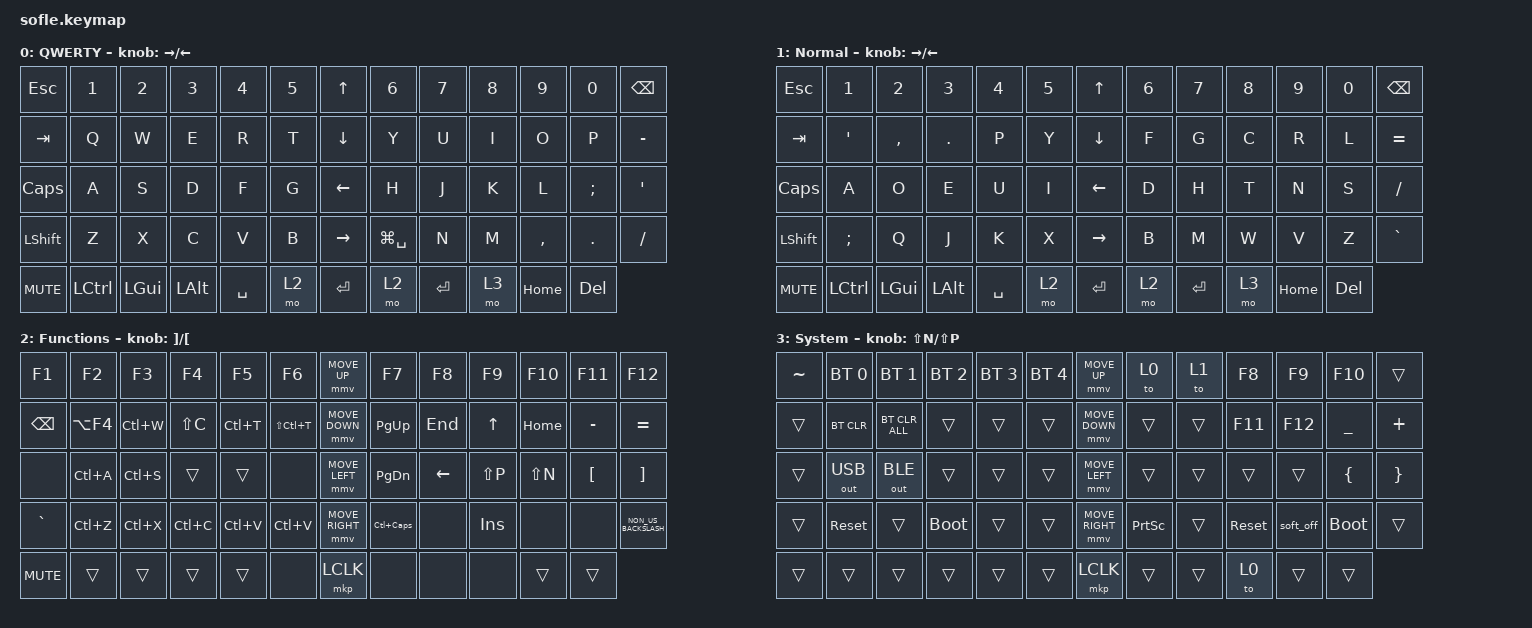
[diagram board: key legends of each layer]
#include <behaviors/mouse_keys.dtsi>
#include <behaviors.dtsi>
#include <dt-bindings/zmk/bt.h>
#include <dt-bindings/zmk/keys.h>
#include <dt-bindings/zmk/mouse.h>
#include <dt-bindings/zmk/outputs.h>

#define ZMK_MOUSE_DEFAULT_MOVE_VAL 1200  // 600
#define ZMK_MOUSE_DEFAULT_SCRL_VAL 20    // 10
#define U_MS_U &mmv MOVE_UP
#define U_MS_D &mmv MOVE_DOWN
#define U_MS_L &mmv MOVE_LEFT
#define U_MS_R &mmv MOVE_RIGHT
#define ZMK_MOUSE_DEFAULT_MOVE_VAL 1200  //  600
#define ZMK_MOUSE_DEFAULT_SCRL_VAL 20    // 10

/ {
    behaviors {
        mmv {
            acceleration-exponent = <1>;      // 1
            time-to-max-speed-ms = <900>;    // 40
            delay-ms = <0>;                   // 0
        };

        msc {
            acceleration-exponent = <1>;      // 0
            time-to-max-speed-ms = <400>;      // 500
            delay-ms = <0>;                   //   10
        };
    };

    scroll_encoder: scroll_encoder {
        compatible = "zmk,behavior-sensor-rotate";
        #sensor-binding-cells = <0>;
        bindings = <&msc SCRL_DOWN>, <&msc SCRL_UP>;

        tap-ms = <30>;
    };

    keymap {
        compatible = "zmk,keymap";

        QWERTY {
            bindings = <
&kp ESC     &kp N1     &kp N2    &kp N3    &kp N4     &kp N5    &kp UP     &kp N6         &kp N7     &kp N8  &kp N9     &kp N0      &kp BSPC
&kp TAB     &kp Q      &kp W     &kp E     &kp R      &kp T     &kp DOWN   &kp Y          &kp U      &kp I   &kp O      &kp P       &kp MINUS
&kp CAPS    &kp A      &kp S     &kp D     &kp F      &kp G     &kp LEFT   &kp H          &kp J      &kp K   &kp L      &kp SEMI    &kp SQT
&kp LSHFT   &kp Z      &kp X     &kp C     &kp V      &kp B     &kp RIGHT  &kp LG(SPACE)  &kp N      &kp M   &kp COMMA  &kp PERIOD  &kp SLASH
&kp C_MUTE  &kp LCTRL  &kp LGUI  &kp LALT  &kp SPACE  &mo 2     &kp ENTER  &mo 2          &kp ENTER  &mo 3   &kp HOME   &kp DEL
            >;

            sensor-bindings = <&inc_dec_kp RIGHT LEFT>;
            label = "QWERTY";
        };

        Dvorak {
            bindings = <
&kp ESC     &kp NUMBER_1   &kp N2        &kp N3        &kp N4     &kp N5    &kp UP_ARROW     &kp N6  &kp N7     &kp N8  &kp N9    &kp N0   &kp BACKSPACE
&kp TAB     &kp SQT        &kp COMMA     &kp PERIOD    &kp P      &kp Y     &kp DOWN_ARROW   &kp F   &kp G      &kp C   &kp R     &kp L    &kp EQUAL
&kp CAPS    &kp A          &kp O         &kp E         &kp U      &kp I     &kp LEFT_ARROW   &kp D   &kp H      &kp T   &kp N     &kp S    &kp SLASH
&kp LSHFT   &kp SEMICOLON  &kp Q         &kp J         &kp K      &kp X     &kp RIGHT_ARROW  &kp B   &kp M      &kp W   &kp V     &kp Z    &kp GRAVE
&kp C_MUTE  &kp LCTRL      &kp LEFT_GUI  &kp LEFT_ALT  &kp SPACE  &mo 2     &kp ENTER        &mo 2   &kp ENTER  &mo 3   &kp HOME  &kp DEL
            >;

            sensor-bindings = <&inc_dec_kp RIGHT LEFT>;
            display-name = "Normal";
            label = "Dvorak";
        };

        Functions {
            bindings = <
&kp F1         &kp F2      &kp F3     &kp F4     &kp F5     &kp F6           &mmv MOVE_UP     &kp F7        &kp F8    &kp F9      &kp F10    &kp F11           &kp F12
&kp BACKSPACE  &kp LA(F4)  &kp LC(W)  &kp LS(C)  &kp LC(T)  &kp LS(LC(T))    &mmv MOVE_DOWN   &kp PG_UP     &kp END   &kp UP      &kp HOME   &kp MINUS         &kp EQUAL
&none          &kp LC(A)   &kp LC(S)  &trans     &trans     &none            &mmv MOVE_LEFT   &kp PG_DN     &kp LEFT  &kp LS(P)   &kp LS(N)  &kp LEFT_BRACKET  &kp RIGHT_BRACKET
&kp GRAVE      &kp LC(Z)   &kp LC(X)  &kp LC(C)  &kp LC(V)  &kp LC(V)        &mmv MOVE_RIGHT  &kp LC(CAPS)  &none     &kp INSERT  &none      &none             &kp NON_US_BACKSLASH
&kp C_MUTE     &trans      &trans     &trans     &trans     &none            &mkp LCLK        &none         &none     &none       &trans     &trans
            >;

            display-name = "Functions";
            sensor-bindings = <&inc_dec_kp RIGHT_BRACKET LEFT_BRACKET>;
            label = "HotKeys";
        };

        System {
            bindings = <
&kp TILDE  &bt BT_SEL 0  &bt BT_SEL 1    &bt BT_SEL 2  &bt BT_SEL 3  &bt BT_SEL 4    &mmv MOVE_UP     &to 0            &to 1   &kp F8      &kp F9     &kp F10      &trans
&trans     &bt BT_CLR    &bt BT_CLR_ALL  &trans        &trans        &trans          &mmv MOVE_DOWN   &trans           &trans  &kp F11     &kp F12    &kp UNDER    &kp PLUS
&trans     &out OUT_USB  &out OUT_BLE    &trans        &trans        &trans          &mmv MOVE_LEFT   &trans           &trans  &trans      &trans     &kp LBRC     &kp RBRC
&trans     &sys_reset    &trans          &bootloader   &trans        &trans          &mmv MOVE_RIGHT  &kp PRINTSCREEN  &trans  &sys_reset  &soft_off  &bootloader  &trans
&trans     &trans        &trans          &trans        &trans        &trans          &mkp LCLK        &trans           &trans  &to 0       &trans     &trans
            >;

            sensor-bindings = <&inc_dec_kp LS(N) LS(P)>;
            label = "System";
        };
    };
};
